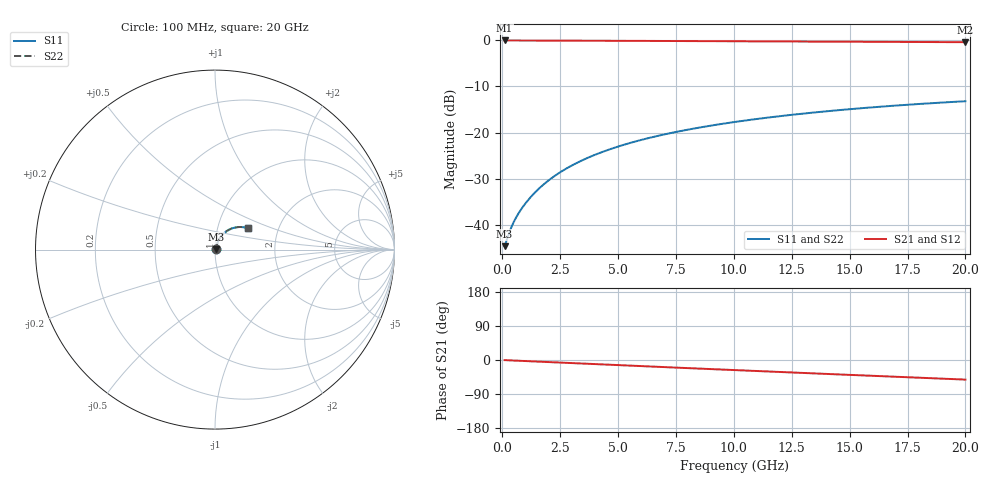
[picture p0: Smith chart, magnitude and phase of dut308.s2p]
! Touchstone file exported from HFSS 2026.1.0
!  File:  C:/ffzhzh/LocalFiles/Ansys_Project_Files/temp_train_TMRDL_308_1783003219_4048.aedt
!  Generated:  10:41:32 PM Jul  2, 2026
!  Design:  TMRDL
!  Project:  temp_train_TMRDL_308_1783003219_4048
! Variables:
!  h_bsmrdl = 2um
!  h_ox = 20um
!  h_rdl = 5um
!  h_sub = 80um
!  h_tmrdl = 3.75um
!  h_tsv = 80um
!  h_via = 3um
!  l_bsmrdl = 300um
!  l_sub = 1309.27um
!  l_tmrdl = 909.27um
!  m_sub = 200um
!  pitch = 23.57um
!  r_tsv = 6um
!  s_tmrdl = 10um
!  w_bsmrdl = 18um
!  w_sub = 500um
!  w_tmrdl = 15.68um
!  x_tsv_center1 = 917.11um
!  x_tsv_center2 = 1235.11um
!  x_tsv_center3 = 2160.06um
!  x_tsv_center4 = 2478.06um
!  x_tsv_center5 = 3403.01um
!  x_tsv_center6 = 3721.01um
# GHz S MA R 50.000000
! Terminal data exported
! Port[1] = TM_RDL1_1_T1
! Port[2] = TM_RDL1_1_T2
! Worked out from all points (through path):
!   200 points, 100 MHz to 20 GHz, reference 50 ohm
!   highest |S21| = -0.05 dB at 100 MHz (marker M1); lowest = -0.4 dB at 20 GHz (marker M2)
!   group delay of S21, straight-line fit = 7.16 ps
!   lowest |S11| = -44.5 dB at 100 MHz (marker M3), VSWR 1.01, Z = 50.6 + j0.196 ohm
!   |S11| at or under -10 dB: start of sweep to end of sweep
!   |S22| runs from -44.5 to -13.2 dB; largest |S21 - S12| = 2.6e-15
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0.1  0.005931 19.1  0.9944 -0.3  0.9944 -0.3  0.005931 19.1
! Gamma 0 0 0 0
! Port Impedance 50 0 50 0
0.3  0.008303 40.4  0.9937 -0.9  0.9937 -0.9  0.008303 40.4
0.4  0.009615 45.7  0.9934 -1.2  0.9934 -1.2  0.009615 45.7
0.6  0.01216 52.6  0.9929 -1.7  0.9929 -1.7  0.01216 52.6
0.9  0.01592 59.1  0.9924 -2.5  0.9924 -2.5  0.01592 59.1
1.1  0.01849 62.1  0.9922 -3.0  0.9922 -3.0  0.01848 62.1
1.3  0.0211 64.3  0.9919 -3.6  0.9919 -3.6  0.0211 64.3
1.5  0.02375 65.9  0.9917 -4.1  0.9917 -4.1  0.02375 65.9
1.8  0.02779 67.6  0.9914 -4.9  0.9914 -4.9  0.02779 67.6
2.3  0.0346 69.1  0.9908 -6.3  0.9908 -6.3  0.0346 69.1
2.9  0.0428 69.6  0.9899 -7.9  0.9899 -7.9  0.0428 69.6
3.5  0.05095 69.4  0.9889 -9.5  0.9889 -9.5  0.05095 69.4
4.2  0.06033 68.5  0.9876 -11.4  0.9876 -11.4  0.06033 68.5
5  0.07084 67.1  0.986 -13.5  0.986 -13.5  0.07083 67.1
5.9  0.08233 65.3  0.984 -15.9  0.984 -15.9  0.08232 65.3
6.8  0.09347 63.3  0.982 -18.3  0.982 -18.3  0.09346 63.4
8.3  0.1112 59.9  0.9784 -22.2  0.9784 -22.2  0.1112 59.9
10.1  0.1313 55.7  0.9741 -26.8  0.9741 -26.8  0.1313 55.8
11.7  0.1481 52.0  0.9703 -30.9  0.9703 -30.9  0.1481 52.0
13.4  0.1649 48.0  0.9664 -35.2  0.9664 -35.2  0.1648 48.1
16.7  0.1942 40.3  0.9591 -43.5  0.9591 -43.5  0.1941 40.4
20  0.219 32.7  0.9524 -51.7  0.9524 -51.7  0.2189 32.7
